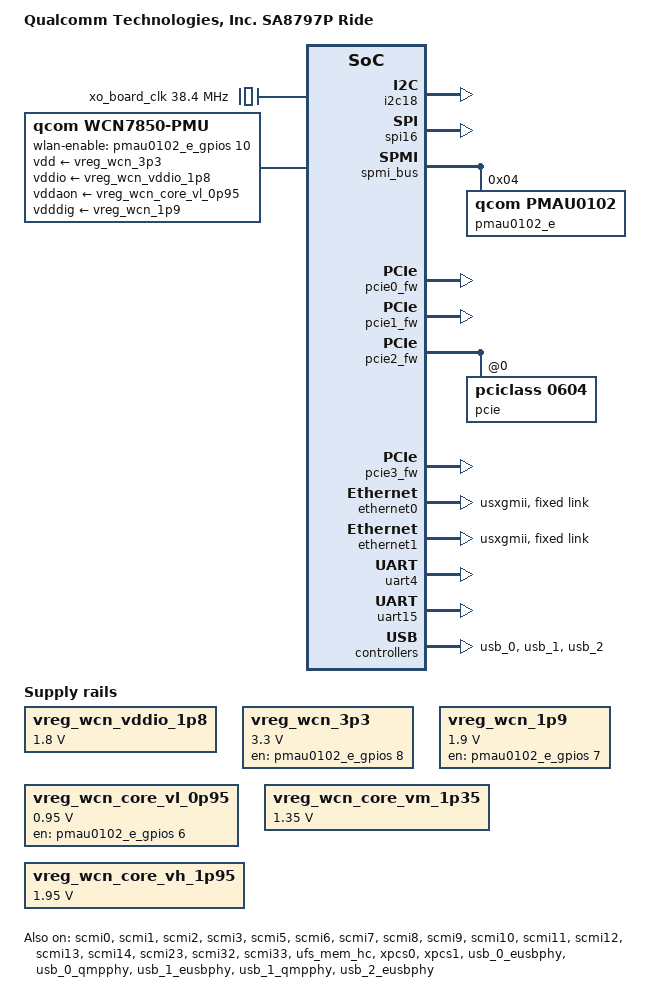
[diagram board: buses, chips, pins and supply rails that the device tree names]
// SPDX-License-Identifier: BSD-3-Clause
/*
 * Copyright (c) Qualcomm Technologies, Inc. and/or its subsidiaries.
 */

/dts-v1/;

#include <dt-bindings/gpio/gpio.h>
#include <dt-bindings/spmi/spmi.h>

#include "nord-gearvm.dtsi"

/ {
	model = "Qualcomm Technologies, Inc. SA8797P Ride";
	compatible = "qcom,sa8797p-ride", "qcom,nord";

	aliases {
		i2c18 = &i2c18;
		serial0 = &uart15;
		serial1 = &uart4;
		spi16 = &spi16;
	};

	chosen {
		stdout-path = "serial0:115200n8";
	};

	clocks {
		xo_board_clk: xo-board-clk {
			compatible = "fixed-clock";
			clock-frequency = <38400000>;
			#clock-cells = <0>;
		};

		sleep_clk: sleep-clk {
			compatible = "fixed-clock";
			clock-frequency = <32000>;
			#clock-cells = <0>;
		};
	};

	vreg_wcn_vddio_1p8: regulator-wcn-vddio-1p8 {
		compatible = "regulator-fixed";
		regulator-name = "vreg_wcn_vddio_1p8";
		regulator-min-microvolt = <1800000>;
		regulator-max-microvolt = <1800000>;
		regulator-always-on;
		regulator-boot-on;
	};

	vreg_wcn_3p3: regulator-wcn-3p3 {
		compatible = "regulator-fixed";
		regulator-name = "vreg_wcn_3p3";
		regulator-min-microvolt = <3300000>;
		regulator-max-microvolt = <3300000>;
		gpio = <&pmau0102_e_gpios 8 GPIO_ACTIVE_HIGH>;
		enable-active-high;
	};

	vreg_wcn_1p9: regulator-wcn-1p9 {
		compatible = "regulator-fixed";
		regulator-name = "vreg_wcn_1p9";
		regulator-min-microvolt = <1900000>;
		regulator-max-microvolt = <1900000>;
		gpio = <&pmau0102_e_gpios 7 GPIO_ACTIVE_HIGH>;
		enable-active-high;
	};

	/* PWR_CORE enables the VL, VM and VH core rails. */
	vreg_wcn_core_vl_0p95: regulator-wcn-core-vl-0p95 {
		compatible = "regulator-fixed";
		regulator-name = "vreg_wcn_core_vl_0p95";
		regulator-min-microvolt = <950000>;
		regulator-max-microvolt = <950000>;
		gpio = <&pmau0102_e_gpios 6 GPIO_ACTIVE_HIGH>;
		enable-active-high;
	};

	vreg_wcn_core_vm_1p35: regulator-wcn-core-vm-1p35 {
		compatible = "regulator-fixed";
		regulator-name = "vreg_wcn_core_vm_1p35";
		regulator-min-microvolt = <1350000>;
		regulator-max-microvolt = <1350000>;
	};

	vreg_wcn_core_vh_1p95: regulator-wcn-core-vh-1p95 {
		compatible = "regulator-fixed";
		regulator-name = "vreg_wcn_core_vh_1p95";
		regulator-min-microvolt = <1950000>;
		regulator-max-microvolt = <1950000>;
	};

	wcn7850-pmu {
		compatible = "qcom,wcn7850-pmu";

		wlan-enable-gpios = <&pmau0102_e_gpios 10 GPIO_ACTIVE_HIGH>;

		vdd-supply = <&vreg_wcn_3p3>;
		vddio-supply = <&vreg_wcn_vddio_1p8>;
		vddaon-supply = <&vreg_wcn_core_vl_0p95>;
		vdddig-supply = <&vreg_wcn_1p9>;
		vddrfa1p2-supply = <&vreg_wcn_core_vm_1p35>;
		vddrfa1p8-supply = <&vreg_wcn_core_vh_1p95>;

		regulators {
			vreg_pmu_rfa_cmn: ldo0 {
				regulator-name = "vreg_pmu_rfa_cmn";
			};

			vreg_pmu_aon_0p59: ldo1 {
				regulator-name = "vreg_pmu_aon_0p59";
			};

			vreg_pmu_wlcx_0p8: ldo2 {
				regulator-name = "vreg_pmu_wlcx_0p8";
			};

			vreg_pmu_wlmx_0p85: ldo3 {
				regulator-name = "vreg_pmu_wlmx_0p85";
			};

			vreg_pmu_rfa_0p8: ldo5 {
				regulator-name = "vreg_pmu_rfa_0p8";
			};

			vreg_pmu_rfa_1p2: ldo6 {
				regulator-name = "vreg_pmu_rfa_1p2";
			};

			vreg_pmu_rfa_1p8: ldo7 {
				regulator-name = "vreg_pmu_rfa_1p8";
			};

			vreg_pmu_pcie_0p9: ldo8 {
				regulator-name = "vreg_pmu_pcie_0p9";
			};

			vreg_pmu_pcie_1p8: ldo9 {
				regulator-name = "vreg_pmu_pcie_1p8";
			};
		};
	};
};

&i2c18 {
	status = "okay";
};

&scmi0 {
	status = "okay";
};

&scmi1 {
	status = "okay";
};

&scmi2 {
	status = "okay";
};

&scmi3 {
	status = "okay";
};

&scmi5 {
	status = "okay";
};

&scmi6 {
	status = "okay";
};

&scmi7 {
	status = "okay";
};

&scmi8 {
	status = "okay";
};

&scmi9 {
	status = "okay";
};

&scmi10 {
	status = "okay";
};

&scmi11 {
	status = "okay";
};

&scmi12 {
	status = "okay";
};

&scmi13 {
	status = "okay";
};

&scmi14 {
	status = "okay";
};

&scmi23 {
	status = "okay";
};

&scmi32 {
	status = "okay";
};

&scmi33 {
	status = "okay";
};

&spi16 {
	status = "okay";
};

&spmi_bus {
	pmau0102_e: pmic@4 {
		compatible = "qcom,pmau0102", "qcom,spmi-pmic";
		reg = <0x4 SPMI_USID>;
		#address-cells = <1>;
		#size-cells = <0>;

		pmau0102_e_gpios: gpio@8800 {
			compatible = "qcom,pmau0102-gpio", "qcom,spmi-gpio";
			reg = <0x8800>;
			gpio-controller;
			gpio-ranges = <&pmau0102_e_gpios 0 0 12>;
			#gpio-cells = <2>;
			interrupt-controller;
			#interrupt-cells = <2>;
		};
	};
};

&pcie0_fw {
	status = "okay";
};

&pcie1_fw {
	status = "okay";
};

&pcie2_fw {
	status = "okay";

	pcie@0 {
		compatible = "pciclass,0604";
		reg = <0x0 0x0 0x0 0x0 0x0>;
		bus-range = <0x01 0xff>;
		device_type = "pci";
		#address-cells = <3>;
		#size-cells = <2>;
		ranges;

		wifi@0 {
			compatible = "pci17cb,1107";
			reg = <0x10000 0x0 0x0 0x0 0x0>;

			vddaon-supply = <&vreg_pmu_aon_0p59>;
			vddwlcx-supply = <&vreg_pmu_wlcx_0p8>;
			vddwlmx-supply = <&vreg_pmu_wlmx_0p85>;
			vddrfacmn-supply = <&vreg_pmu_rfa_cmn>;
			vddrfa0p8-supply = <&vreg_pmu_rfa_0p8>;
			vddrfa1p2-supply = <&vreg_pmu_rfa_1p2>;
			vddrfa1p8-supply = <&vreg_pmu_rfa_1p8>;
			vddpcie0p9-supply = <&vreg_pmu_pcie_0p9>;
			vddpcie1p8-supply = <&vreg_pmu_pcie_1p8>;
		};
	};
};

&pcie3_fw {
	status = "okay";
};

&ethernet0 {
	phy-mode = "usxgmii";

	status = "okay";

	fixed-link {
		speed = <10000>;
		full-duplex;
	};
};

&ethernet1 {
	phy-mode = "usxgmii";

	status = "okay";

	fixed-link {
		speed = <10000>;
		full-duplex;
	};
};

&thermal_zones {
	pmic_kobra_thermal: pmic-a-die-thermal {
		polling-delay-passive = <100>;
		thermal-sensors = <&scmi23_sensor 3>;

		trips {
			trip0 {
				temperature = <115000>;
				hysteresis = <5000>;
				type = "passive";
			};
		};
	};

	pmic_kai_0_thermal: pmic-e-die-thermal {
		polling-delay-passive = <100>;
		thermal-sensors = <&scmi23_sensor 4>;

		trips {
			trip0 {
				temperature = <115000>;
				hysteresis = <5000>;
				type = "passive";
			};
		};
	};

	pmic_kai_1_thermal: pmic-f-die-thermal {
		polling-delay-passive = <100>;
		thermal-sensors = <&scmi23_sensor 5>;

		trips {
			trip0 {
				temperature = <115000>;
				hysteresis = <5000>;
				type = "passive";
			};
		};
	};

	pmic_kai_2_thermal: pmic-g-die-thermal {
		polling-delay-passive = <100>;
		thermal-sensors = <&scmi23_sensor 6>;

		trips {
			trip0 {
				temperature = <115000>;
				hysteresis = <5000>;
				type = "passive";
			};
		};
	};

	pmic_kai_3_thermal: pmic-h-die-thermal {
		polling-delay-passive = <100>;
		thermal-sensors = <&scmi23_sensor 7>;

		trips {
			trip0 {
				temperature = <115000>;
				hysteresis = <5000>;
				type = "passive";
			};
		};
	};

	pmic_kai_4_thermal: pmic-i-die-thermal {
		polling-delay-passive = <100>;
		thermal-sensors = <&scmi23_sensor 8>;

		trips {
			trip0 {
				temperature = <115000>;
				hysteresis = <5000>;
				type = "passive";
			};
		};
	};

	pmic_kai_5_thermal: pmic-j-die-thermal {
		polling-delay-passive = <100>;
		thermal-sensors = <&scmi23_sensor 9>;

		trips {
			trip0 {
				temperature = <115000>;
				hysteresis = <5000>;
				type = "passive";
			};
		};
	};

	pmic_kai_6_thermal: pmic-k-die-thermal {
		polling-delay-passive = <100>;
		thermal-sensors = <&scmi23_sensor 10>;

		trips {
			trip0 {
				temperature = <115000>;
				hysteresis = <5000>;
				type = "passive";
			};
		};
	};

	pmic_kai_7_thermal: pmic-l-die-thermal {
		polling-delay-passive = <100>;
		thermal-sensors = <&scmi23_sensor 11>;

		trips {
			trip0 {
				temperature = <115000>;
				hysteresis = <5000>;
				type = "passive";
			};
		};
	};

	pmic_kai_ufs_thermal: ufs-thermal {
		polling-delay-passive = <0>;
		thermal-sensors = <&scmi23_sensor 0>;

		trips {
			trip0 {
				temperature = <105000>;
				hysteresis = <5000>;
				type = "passive";
			};

			trip1 {
				temperature = <115000>;
				hysteresis = <5000>;
				type = "critical";
			};
		};
	};

	pmic_kai_sdram0_thermal: sdram0-thermal {
		polling-delay-passive = <0>;
		thermal-sensors = <&scmi23_sensor 1>;

		trips {
			trip0 {
				temperature = <105000>;
				hysteresis = <5000>;
				type = "passive";
			};

			trip1 {
				temperature = <115000>;
				hysteresis = <5000>;
				type = "critical";
			};
		};
	};

	pmic_kai_sdram1_thermal: sdram1-thermal {
		polling-delay-passive = <0>;
		thermal-sensors = <&scmi23_sensor 2>;

		trips {
			trip0 {
				temperature = <105000>;
				hysteresis = <5000>;
				type = "passive";
			};

			trip1 {
				temperature = <115000>;
				hysteresis = <5000>;
				type = "critical";
			};
		};
	};
};

&uart4 {
	status = "okay";
};

&uart15 {
	status = "okay";
};

&ufs_mem_hc {
	status = "okay";
};

&xpcs0 {
	status = "okay";
};

&xpcs1 {
	status = "okay";
};

&usb_0 {
	status = "okay";
};

&usb_0_eusbphy {
	status = "okay";
};

&usb_0_qmpphy {
	status = "okay";
};

&usb_1 {
	status = "okay";
};

&usb_1_eusbphy {
	status = "okay";
};

&usb_1_qmpphy {
	status = "okay";
};

&usb_2 {
	status = "okay";
};

&usb_2_eusbphy {
	status = "okay";
};
